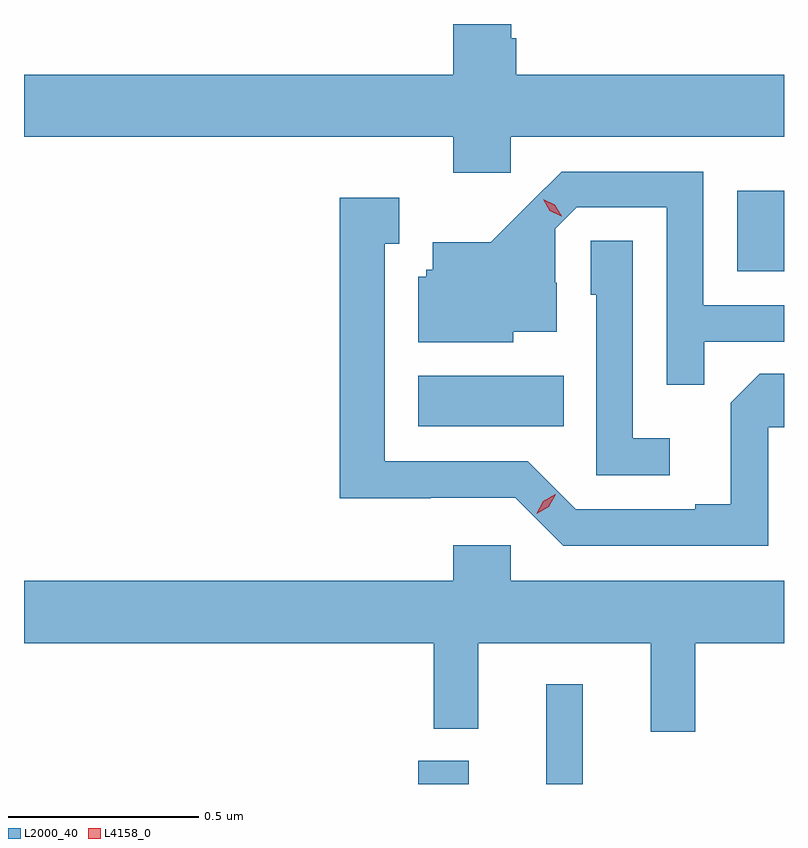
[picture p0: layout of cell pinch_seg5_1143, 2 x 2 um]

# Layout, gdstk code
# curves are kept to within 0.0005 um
import gdstk
lib = gdstk.Library(unit=1e-6, precision=1e-09)
def R(c, l, rs):  # rectangles x0, y0, x1, y1
    for r in rs: c.add(gdstk.rectangle(r[:2], r[2:], *l))
def P(c, l, *ps):  # polygons
    for p in ps: c.add(gdstk.Polygon(p, *l))
L2000_40 = (2000, 40)
L4158_0 = (4158, 0)

pinch_seg5_1143 = lib.new_cell('pinch_seg5_1143')
R(pinch_seg5_1143, L2000_40, [(789.83,848.397,789.964,848.458), (790.167,848.397,790.264,848.659), (789.83,849.338,790.214,849.472), (790.67,849.746,790.793,849.958)])
P(pinch_seg5_1143, L2000_40, [(790.074,850.1),(790.793,850.1),(790.793,850.264),(790.088,850.264),(790.088,850.36),(790.075,850.36),(790.075,850.397),(789.923,850.397),(789.923,850.264),(788.793,850.264),(788.793,850.1),(789.923,850.1),(789.923,850.005),(790.074,850.005)],
  [(790.583,849.561),(790.793,849.561),(790.793,849.657),(790.581,849.657),(790.581,850.008),(790.208,850.008),(790.021,849.823),(789.869,849.823),(789.869,849.75),(789.852,849.75),(789.852,849.732),(789.83,849.732),(789.83,849.56),(790.08,849.56),(790.08,849.587),(790.195,849.587),(790.195,849.716),(790.191,849.716),(790.191,849.858),(790.248,849.915),(790.485,849.915),(790.485,849.448),(790.583,849.448)],
  [(790.752,849.336),(790.793,849.336),(790.793,849.476),(790.729,849.476),(790.653,849.4),(790.653,849.133),(790.559,849.133),(790.559,849.12),(790.245,849.12),(790.119,849.246),(789.742,849.246),(789.742,849.819),(789.781,849.819),(789.781,849.94),(789.624,849.94),(789.624,849.149),(789.864,849.149),(789.864,849.15),(790.086,849.15),(790.212,849.024),(790.752,849.024)],
  [(790.492,849.307),(790.395,849.307),(790.395,849.827),(790.284,849.827),(790.284,849.684),(790.299,849.684),(790.299,849.21),(790.492,849.21)],
  [(790.559,848.768),(790.793,848.768),(790.793,848.932),(790.074,848.932),(790.074,849.025),(789.923,849.025),(789.923,848.932),(788.793,848.932),(788.793,848.768),(789.871,848.768),(789.871,848.543),(789.989,848.543),(789.989,848.768),(790.442,848.768),(790.442,848.535),(790.559,848.535)])
P(pinch_seg5_1143, L4158_0, [(790.142,849.108),(790.142,849.109),(790.16,849.141),(790.191,849.16),(790.192,849.16),(790.192,849.16),(790.174,849.127),(790.142,849.108)],
  [(790.207,849.891),(790.177,849.906),(790.16,849.936),(790.16,849.936),(790.16,849.936),(790.19,849.921),(790.208,849.891),(790.208,849.891)])

lib.write_gds('pinch_seg5_1143.gds')
